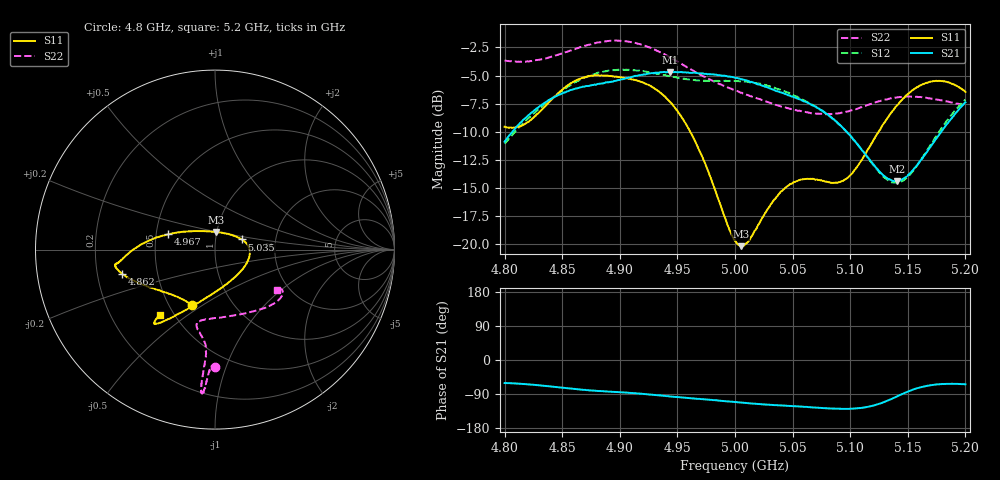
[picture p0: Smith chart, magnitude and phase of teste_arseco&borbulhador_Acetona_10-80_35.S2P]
! Network Analyzer HP8722D
! Hewlett-Packard
! Data name: Linha & Wilkinson
! Saver's name: Rodrigo Anjos
! Comments: Teste da utilização de aquisição
! continua pelo VNA HP8722D
! Time and date: 17/4/2025 14:39
!  Frequency  S11  S21  S12  S22
# HZ  S  MA R 50
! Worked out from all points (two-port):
!   401 points, 4.8 GHz to 5.2 GHz, reference 50 ohm
!   highest |S21| = -4.67 dB at 4.944 GHz (marker M1); lowest = -14.4 dB at 5.141 GHz (marker M2)
!   |S21| within 3 dB of the highest: 4.831 GHz to 5.068 GHz (236.7 MHz wide, 4.78 % of centre); 5.197301 GHz to end of sweep
!   lowest |S11| = -20.2 dB at 5.005 GHz (marker M3), VSWR 1.22, Z = 49.8 + j9.82 ohm
!   |S11| at or under -10 dB: 4.961 GHz to 5.125 GHz (163.4 MHz wide, 3.24 % of centre)
!   |S22| runs from -8.4 to -1.9 dB; largest |S21 - S12| = 0.88
!   S11 on the Smith chart (normalised r, x): 4.8 GHz: 0.65, -0.45; 4.862 GHz: 0.31, -0.12; 4.967 GHz: 0.58, +0.11; 5.035 GHz: 1.34, +0.16; 5.2 GHz: 0.42, -0.39
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4.8e9  0.3328 -113.1  0.2856 -60.7  0.2801 -175.0  0.6566 -89.9
4.819e9  0.3462 -133.0  0.3676 -63.9  0.3565 -173.5  0.6497 -91.5
4.862e9  0.5358 -165.5  0.4927 -76.9  0.5273 -176.6  0.7409 -93.7
4.867e9  0.5483 -167.5  0.4998 -78.3  0.5426 -177.4  0.7556 -93.9
4.898e9  0.5545 -172.0  0.5359 -84.6  0.5963 176.1  0.804 -95.1
4.934e9  0.4774 -178.0  0.5797 -93.4  0.5718 172.0  0.718 -95.7
4.944e9  0.4275 177.5  0.584 -96.1  0.5567 172.0  0.6757 -95.5
4.967e9  0.2761 162.0  0.5772 -102.2  0.5348 173.9  0.5766 -95.0
5e9  0.1038 103.0  0.5498 -111.0  0.5327 176.3  0.4837 -99.2
5.005e9  0.09801 85.8  0.5424 -112.3  0.5302 176.3  0.4718 -100.3
5.013e9  0.1051 59.7  0.5276 -114.4  0.524 175.9  0.4559 -102.0
5.035e9  0.1593 20.9  0.482 -119.0  0.4944 174.9  0.4171 -103.5
5.05e9  0.1873 5.5  0.4537 -121.8  0.4627 174.1  0.398 -99.6
5.067e9  0.1953 -12.6  0.4149 -124.9  0.4178 173.8  0.3819 -91.1
5.086e9  0.1875 -42.6  0.3587 -128.4  0.3566 173.5  0.38 -76.7
5.097e9  0.1958 -65.4  0.3159 -129.0  0.3158 174.6  0.389 -67.4
5.134e9  0.3742 -116.0  0.1946 -105.3  0.1907 -158.3  0.4442 -43.0
5.141e9  0.4162 -119.9  0.1908 -95.3  0.1872 -147.2  0.45 -39.9
5.153e9  0.4799 -124.9  0.2095 -79.7  0.2073 -128.8  0.4534 -35.7
5.17e9  0.5287 -128.5  0.2722 -66.5  0.278 -112.6  0.4448 -31.9
5.184e9  0.5266 -129.8  0.3427 -63.0  0.3547 -107.3  0.4316 -30.9
5.2e9  0.4757 -130.3  0.4274 -64.2  0.4392 -106.3  0.4149 -33.1
